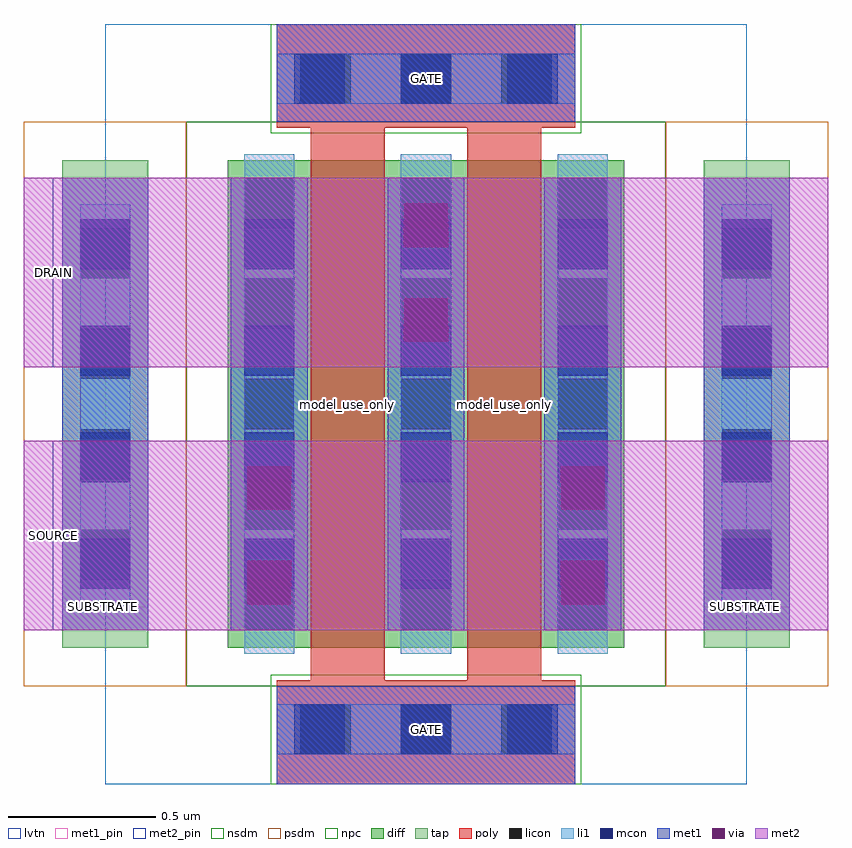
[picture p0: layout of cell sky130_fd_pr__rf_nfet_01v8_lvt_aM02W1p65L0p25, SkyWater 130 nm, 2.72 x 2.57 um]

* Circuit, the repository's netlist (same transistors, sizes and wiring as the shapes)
* Copyright 2020 The SkyWater PDK Authors
*
* Licensed under the Apache License, Version 2.0 (the "License");
* you may not use this file except in compliance with the License.
* You may obtain a copy of the License at
*
*     https://www.apache.org/licenses/LICENSE-2.0
*
* Unless required by applicable law or agreed to in writing, software
* distributed under the License is distributed on an "AS IS" BASIS,
* WITHOUT WARRANTIES OR CONDITIONS OF ANY KIND, either express or implied.
* See the License for the specific language governing permissions and
* limitations under the License.
*
* SPDX-License-Identifier: Apache-2.0


.subckt sky130_fd_pr__rf_nfet_01v8_lvt_aM02W1p65L0p25 DRAIN GATE SOURCE SUBSTRATE
X0 DRAIN GATE SOURCE SUBSTRATE sky130_fd_pr__nfet_01v8_lvt w=1.65e+06u l=250000u
X1 SOURCE GATE DRAIN SUBSTRATE sky130_fd_pr__nfet_01v8_lvt w=1.65e+06u l=250000u
.ends

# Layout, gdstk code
import gdstk
lib = gdstk.Library(unit=1e-6, precision=1e-09)
def R(c, l, rs):  # rectangles x0, y0, x1, y1
    for r in rs: c.add(gdstk.rectangle(r[:2], r[2:], *l))
def A(c, l, x, y, w, h, nx, ny, dx, dy):  # array of equal rectangles
    R(c, l, [(x+i*dx, y+j*dy, x+i*dx+w, y+j*dy+h) for i in range(nx) for j in range(ny)])
diff = (65, 20)
tap = (65, 44)
poly = (66, 20)
licon = (66, 44)
li1 = (67, 20)
mcon = (67, 44)
met1_pin = (68, 16)
met1 = (68, 20)
via = (68, 44)
met2_pin = (69, 16)
met2 = (69, 20)
nsdm = (93, 44)
psdm = (94, 20)
npc = (95, 20)
lvtn = (125, 44)

sky130_fd_pr__rf_nfet_01 = lib.new_cell('sky130_fd_pr__rf_nfet_01v8_lvt_aM02W1p65L0p25')
R(sky130_fd_pr__rf_nfet_01, diff, [(0.74,0.51,2.08,2.16)])
R(sky130_fd_pr__rf_nfet_01, tap, [(0.18,0.51,0.47,2.16), (2.35,0.51,2.64,2.16)])
R(sky130_fd_pr__rf_nfet_01, poly, [(0.905,0.05,1.915,0.4), (1.02,0.4,1.27,2.27), (1.55,0.4,1.8,2.27), (0.905,2.27,1.915,2.62)])
A(sky130_fd_pr__rf_nfet_01, licon, 0.985, 0.15, 0.17, 0.17, 3, 2, 0.34, 2.2)
A(sky130_fd_pr__rf_nfet_01, licon, 0.795, 0.57, 0.17, 0.17, 3, 5, 0.53, 0.34)
A(sky130_fd_pr__rf_nfet_01, licon, 0.24, 0.74, 0.17, 0.17, 1, 4, 0, 0.34)
A(sky130_fd_pr__rf_nfet_01, licon, 2.41, 0.74, 0.17, 0.17, 1, 4, 0, 0.34)
A(sky130_fd_pr__rf_nfet_01, li1, 0.795, 0.49, 0.17, 1.69, 3, 1, 0.53, 0)
R(sky130_fd_pr__rf_nfet_01, li1, [(0.905,0.15,1.915,0.32), (0.965,0.15,1.855,0.32), (0.24,0.66,0.41,2.01), (2.41,0.66,2.58,2.01), (0.905,2.35,1.915,2.52), (0.965,2.35,1.855,2.52)])
A(sky130_fd_pr__rf_nfet_01, mcon, 0.965, 0.15, 0.17, 0.17, 3, 2, 0.36, 2.2)
A(sky130_fd_pr__rf_nfet_01, mcon, 0.24, 0.71, 0.17, 0.17, 1, 4, 0, 0.36)
A(sky130_fd_pr__rf_nfet_01, mcon, 0.795, 0.71, 0.17, 0.17, 3, 4, 0.53, 0.36)
A(sky130_fd_pr__rf_nfet_01, mcon, 2.41, 0.71, 0.17, 0.17, 1, 4, 0, 0.36)
R(sky130_fd_pr__rf_nfet_01, met1_pin, [(0.905,0.05,1.915,0.38), (0.18,0.57,0.47,0.65), (2.35,0.57,2.64,0.65), (0.905,2.29,1.915,2.62)])
A(sky130_fd_pr__rf_nfet_01, met1, 0.75, 0.57, 0.26, 1.53, 3, 1, 0.53, 0)
R(sky130_fd_pr__rf_nfet_01, met1, [(0.905,0.05,1.915,0.38), (0.18,0.57,0.47,2.1), (2.35,0.57,2.64,2.1), (0.905,2.29,1.915,2.62)])
R(sky130_fd_pr__rf_nfet_01, via, [(0.805,0.655,0.955,0.805), (1.865,0.655,2.015,0.805), (0.805,0.975,0.955,1.125), (1.865,0.975,2.015,1.125), (1.335,1.545,1.485,1.695), (1.335,1.865,1.485,2.015)])
R(sky130_fd_pr__rf_nfet_01, met2_pin, [(0.05,0.57,0.15,1.21), (0.05,1.46,0.15,2.1)])
R(sky130_fd_pr__rf_nfet_01, met2, [(0.05,0.57,2.77,1.21), (0.05,1.46,2.77,2.1)])
R(sky130_fd_pr__rf_nfet_01, nsdm, [(0.6,0.38,2.22,2.29)])
R(sky130_fd_pr__rf_nfet_01, psdm, [(0.05,0.38,0.6,2.29), (2.22,0.38,2.77,2.29)])
R(sky130_fd_pr__rf_nfet_01, npc, [(0.885,0.05,1.935,0.42), (0.885,2.25,1.935,2.62)])
R(sky130_fd_pr__rf_nfet_01, lvtn, [(0.325,0.05,2.495,2.62)])
sky130_fd_pr__rf_nfet_01.add(gdstk.Label('model_use_only', (1.675,1.335), layer=66, texttype=83))
sky130_fd_pr__rf_nfet_01.add(gdstk.Label('model_use_only', (1.145,1.335), layer=66, texttype=83))
sky130_fd_pr__rf_nfet_01.add(gdstk.Label('SOURCE', (0.15,0.89), layer=69, texttype=5))
sky130_fd_pr__rf_nfet_01.add(gdstk.Label('DRAIN', (0.15,1.78), layer=69, texttype=5))
sky130_fd_pr__rf_nfet_01.add(gdstk.Label('SUBSTRATE', (0.32,0.65), layer=68, texttype=5))
sky130_fd_pr__rf_nfet_01.add(gdstk.Label('SUBSTRATE', (2.49,0.65), layer=68, texttype=5))
sky130_fd_pr__rf_nfet_01.add(gdstk.Label('GATE', (1.41,0.235), layer=68, texttype=5))
sky130_fd_pr__rf_nfet_01.add(gdstk.Label('GATE', (1.41,2.435), layer=68, texttype=5))

lib.write_gds('sky130_fd_pr__rf_nfet_01v8_lvt_aM02W1p65L0p25.gds')
